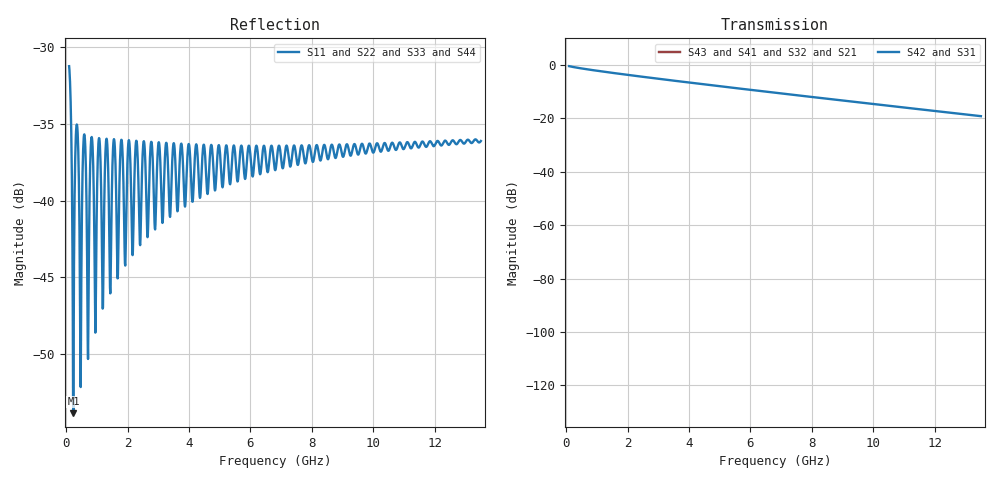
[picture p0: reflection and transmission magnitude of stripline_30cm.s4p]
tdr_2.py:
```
#https://electronics.stackexchange.com/questions/553060/frequency-domain-s11-conversion-to-time-domain-tdr

import sys
import skrf
import matplotlib.pyplot as plt
skrf.stylely()

network = skrf.Network("Striplines/stripline_30cm.s4p")
network_dc = network.extrapolate_to_dc(kind='linear')

plt.figure()
plt.title("Time Domain Reflectometry")
network_dc.s11.plot_z_time_step(window='hamming', label="impedance")
plt.xlim((-0.5, 10))

plt.tight_layout()
plt.show()
pass
```
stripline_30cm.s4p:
! Touchstone generated by fitter/viewer
! HL_PORTMAP 1.0
! PORT  1  (PIN N1, Net001, S)
! PORT  2  (PIN N2, Net002, S)
! PORT  3  (PIN N3, Net001, S)
! PORT  4  (PIN N4, Net002, S)
! CONNECT 1, 3;
! CONNECT 2, 4;
! END_HL_PORTMAP
# HZ S  RI R 5.000000e+01
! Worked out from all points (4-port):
!   1351 points, 100 MHz to 13.5 GHz, reference 50 ohm
!   strongest paths, dB at 100 MHz, 3.445 GHz, 6.8 GHz, 10.15 GHz, 13.5 GHz:
!     S42: -0.4, -5.8, -10.4, -14.8, -19.1
!     S31: -0.4, -5.8, -10.4, -14.8, -19.1
!     S43: -, -, -, -, -
!     S41: -, -, -, -, -
!     S32: -, -, -, -, -
!     S21: -, -, -, -, -
!   lowest |S11| = -53.8 dB at 239 MHz (marker M1), VSWR 1.00, Z = 50.2 + j0.0358 ohm
!   |S11| at or under -10 dB: start of sweep to end of sweep
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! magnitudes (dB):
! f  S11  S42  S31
! 100 MHz  -31.3  -0.4  -0.4
! 239 MHz  -53.8  -0.8  -0.8
! 13.5 GHz  -36.1  -19.1  -19.1
